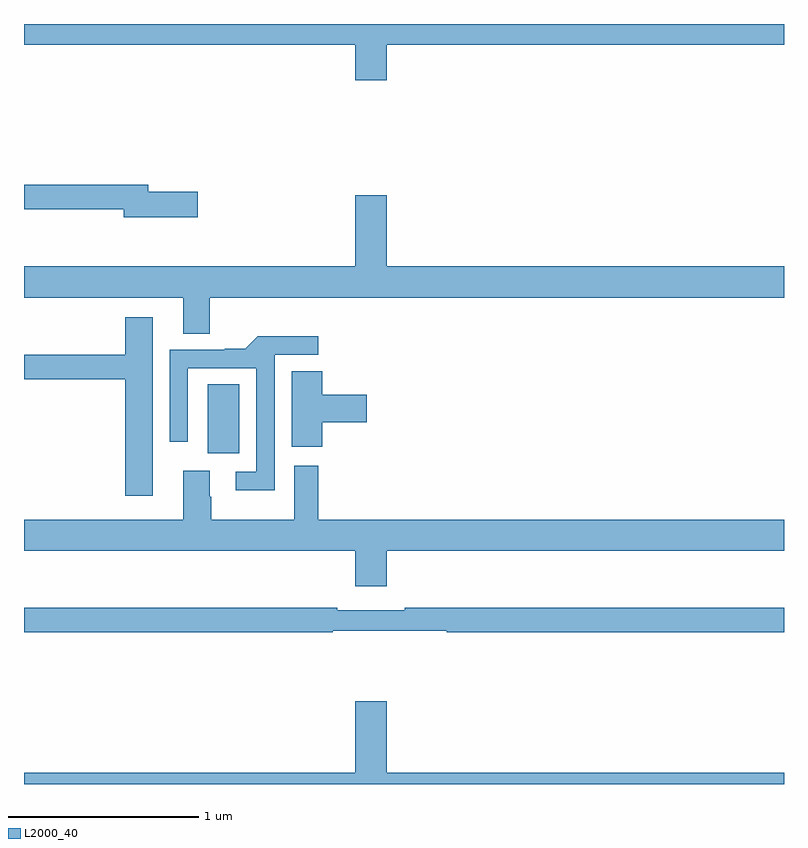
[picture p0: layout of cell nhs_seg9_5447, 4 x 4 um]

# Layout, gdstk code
import gdstk
lib = gdstk.Library(unit=1e-6, precision=1e-09)
def R(c, l, rs):  # rectangles x0, y0, x1, y1
    for r in rs: c.add(gdstk.rectangle(r[:2], r[2:], *l))
def P(c, l, *ps):  # polygons
    for p in ps: c.add(gdstk.Polygon(p, *l))
L2000_40 = (2000, 40)

nhs_seg9_5447 = lib.new_cell('nhs_seg9_5447')
R(nhs_seg9_5447, L2000_40, [(427.967,1222.242,428.134,1222.604)])
P(nhs_seg9_5447, L2000_40, [(428.908,1224.392),(431,1224.392),(431,1224.5),(427,1224.5),(427,1224.392),(428.744,1224.392),(428.744,1224.204),(428.908,1224.204)],
  [(427.915,1223.618),(427.654,1223.618),(427.654,1223.654),(427,1223.654),(427,1223.526),(427.526,1223.526),(427.526,1223.483),(427.915,1223.483)],
  [(427.978,1223.06),(431,1223.06),(431,1223.224),(428.908,1223.224),(428.908,1223.599),(428.744,1223.599),(428.744,1223.224),(427,1223.224),(427,1223.06),(427.838,1223.06),(427.838,1222.87),(427.978,1222.87)],
  [(427.678,1222.957),(427.532,1222.957),(427.532,1222.759),(427,1222.759),(427,1222.63),(427.532,1222.63),(427.532,1222.017),(427.678,1222.017)],
  [(428.319,1222.758),(428.548,1222.758),(428.548,1222.856),(428.231,1222.856),(428.165,1222.79),(428.057,1222.79),(428.057,1222.785),(427.767,1222.785),(427.767,1222.302),(427.863,1222.302),(427.863,1222.689),(428.223,1222.689),(428.223,1222.143),(428.115,1222.143),(428.115,1222.046),(428.319,1222.046)],
  [(428.57,1222.403),(428.803,1222.403),(428.803,1222.55),(428.57,1222.55),(428.57,1222.673),(428.408,1222.673),(428.408,1222.275),(428.57,1222.275)],
  [(428.744,1221.54),(428.908,1221.54),(428.908,1221.728),(431,1221.728),(431,1221.892),(428.549,1221.892),(428.549,1222.174),(428.423,1222.174),(428.423,1221.892),(427.986,1221.892),(427.986,1222.013),(427.978,1222.013),(427.978,1222.15),(427.838,1222.15),(427.838,1221.892),(427,1221.892),(427,1221.728),(428.744,1221.728)],
  [(428.626,1221.306),(429.226,1221.306),(429.226,1221.298),(431,1221.298),(431,1221.427),(429.004,1221.427),(429.004,1221.414),(428.648,1221.414),(428.648,1221.427),(427,1221.427),(427,1221.298),(428.626,1221.298)],
  [(431,1220.56),(428.908,1220.56),(428.908,1220.935),(428.744,1220.935),(428.744,1220.56),(427,1220.56),(427,1220.5),(431,1220.5)])

lib.write_gds('nhs_seg9_5447.gds')
